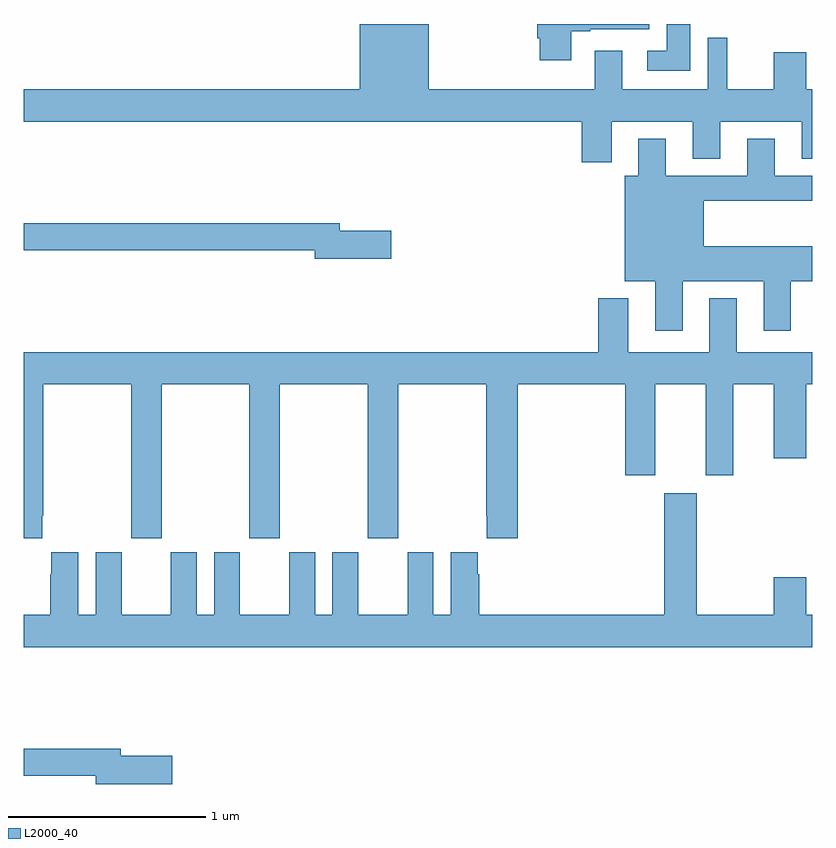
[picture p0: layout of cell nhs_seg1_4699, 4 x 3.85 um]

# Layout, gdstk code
import gdstk
lib = gdstk.Library(unit=1e-6, precision=1e-09)
def P(c, l, *ps):  # polygons
    for p in ps: c.add(gdstk.Polygon(p, *l))
L2000_40 = (2000, 40)

nhs_seg1_4699 = lib.new_cell('nhs_seg1_4699')
P(nhs_seg1_4699, L2000_40, [(368.38,580.199),(368.261,580.199),(368.261,580.063),(368.163,580.063),(368.163,579.962),(368.38,579.962)],
  [(367.777,580.161),(367.873,580.161),(367.873,580.173),(368.173,580.173),(368.173,580.199),(367.604,580.199),(367.604,580.126),(367.616,580.126),(367.616,580.014),(367.777,580.014)],
  [(367.981,579.704),(368.393,579.704),(368.393,579.515),(368.533,579.515),(368.533,579.704),(368.945,579.704),(368.945,579.515),(369,579.515),(369,579.868),(368.968,579.868),(368.968,580.057),(368.804,580.057),(368.804,579.868),(368.568,579.868),(368.568,580.129),(368.469,580.129),(368.469,579.868),(368.035,579.868),(368.035,580.063),(367.895,580.063),(367.895,579.868),(367.054,579.868),(367.054,580.199),(366.704,580.199),(366.704,579.868),(365,579.868),(365,579.704),(367.829,579.704),(367.829,579.498),(367.981,579.498)],
  [(368.341,578.894),(368.753,578.894),(368.753,578.643),(368.89,578.643),(368.89,578.894),(369,578.894),(369,579.073),(368.449,579.073),(368.449,579.302),(369,579.302),(369,579.43),(368.809,579.43),(368.809,579.616),(368.669,579.616),(368.669,579.43),(368.257,579.43),(368.257,579.616),(368.117,579.616),(368.117,579.43),(368.048,579.43),(368.048,578.894),(368.204,578.894),(368.204,578.643),(368.341,578.643)],
  [(366.865,579.152),(366.604,579.152),(366.604,579.188),(365,579.188),(365,579.052),(366.476,579.052),(366.476,579.01),(366.865,579.01)],
  [(365.095,577.705),(365.1,577.705),(365.1,578.372),(365.545,578.372),(365.545,577.593),(365.7,577.593),(365.7,578.372),(366.145,578.372),(366.145,577.593),(366.3,577.593),(366.3,578.372),(366.745,578.372),(366.745,577.593),(366.9,577.593),(366.9,578.372),(367.345,578.372),(367.345,577.705),(367.349,577.705),(367.349,577.593),(367.505,577.593),(367.505,578.372),(368.051,578.372),(368.051,577.911),(368.203,577.911),(368.203,578.372),(368.459,578.372),(368.459,577.911),(368.599,577.911),(368.599,578.372),(368.804,578.372),(368.804,577.998),(368.968,577.998),(368.968,578.372),(369,578.372),(369,578.536),(368.617,578.536),(368.617,578.809),(368.477,578.809),(368.477,578.536),(368.065,578.536),(368.065,578.809),(367.913,578.809),(367.913,578.536),(365,578.536),(365,577.593),(365.095,577.593)],
  [(369,577.204),(368.968,577.204),(368.968,577.393),(368.804,577.393),(368.804,577.204),(368.413,577.204),(368.413,577.819),(368.249,577.819),(368.249,577.204),(367.31,577.204),(367.31,577.409),(367.303,577.409),(367.303,577.522),(367.166,577.522),(367.166,577.204),(367.078,577.204),(367.078,577.522),(366.947,577.522),(366.947,577.204),(366.697,577.204),(366.697,577.522),(366.566,577.522),(366.566,577.204),(366.478,577.204),(366.478,577.522),(366.347,577.522),(366.347,577.204),(366.097,577.204),(366.097,577.522),(365.966,577.522),(365.966,577.204),(365.878,577.204),(365.878,577.522),(365.747,577.522),(365.747,577.204),(365.497,577.204),(365.497,577.522),(365.366,577.522),(365.366,577.204),(365.278,577.204),(365.278,577.522),(365.141,577.522),(365.141,577.409),(365.135,577.409),(365.135,577.204),(365,577.204),(365,577.04),(369,577.04)],
  [(365.755,576.488),(365.494,576.488),(365.494,576.524),(365,576.524),(365,576.388),(365.366,576.388),(365.366,576.346),(365.755,576.346)])

lib.write_gds('nhs_seg1_4699.gds')
